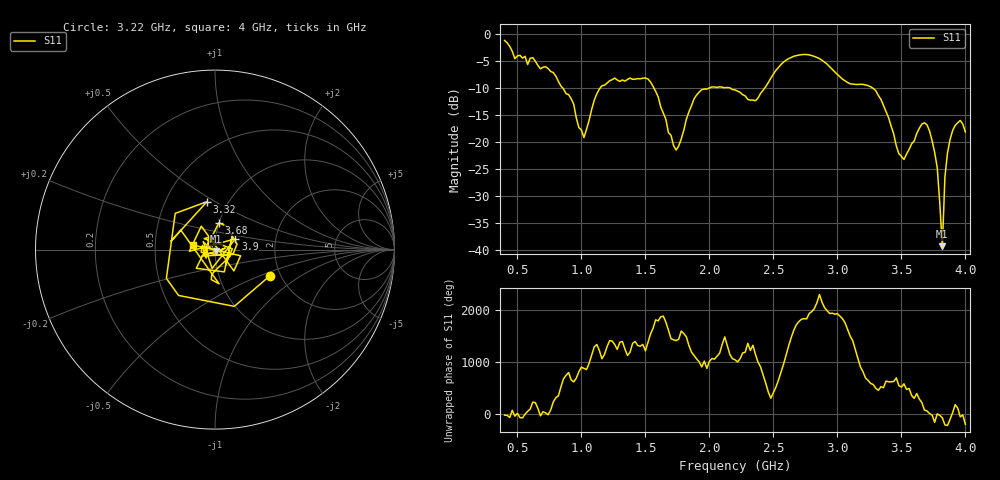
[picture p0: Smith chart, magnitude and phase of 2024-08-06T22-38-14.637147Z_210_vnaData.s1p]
!Created with skrf (http://scikit-rf.org).
# Hz S RI R 50.0
!freq ReS11 ImS11
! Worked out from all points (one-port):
!   181 points, 400 MHz to 4 GHz, reference 50 ohm
!   lowest |S11| = -39.3 dB at 3.82 GHz (marker M1), VSWR 1.02, Z = 50.4 - j1.01 ohm
!   |S11| at or under -10 dB: 855.6 MHz to 1.145 GHz (289.4 MHz wide, 28.9 % of centre); 1.567 GHz to 1.994 GHz (426.4 MHz wide, 23.9 % of centre); 3.277 GHz to end of sweep (the widest 3 of 4)
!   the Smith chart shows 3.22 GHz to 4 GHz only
!   S11 on the Smith chart (normalised r, x): 3.22 GHz: 1.76, -0.58; 3.32 GHz: 0.80, +0.46; 3.68 GHz: 1.00, +0.31; 3.9 GHz: 1.25, +0.15; 4 GHz: 0.78, +0.04
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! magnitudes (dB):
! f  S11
! 400 MHz  -1.1
! 480 MHz  -4.5
! 620 MHz  -4.3
! 860 MHz  -10.1
! 1.02 GHz  -19.1
! 1.14 GHz  -10.1
! 1.3 GHz  -8.8
! 1.52 GHz  -8.3
! 1.72 GHz  -20.6
! 1.76 GHz  -20.7
! 1.92 GHz  -10.7
! 2.2 GHz  -10.3
! 2.36 GHz  -12.3
! 2.66 GHz  -4.1
! 2.86 GHz  -4.5
! 3.1 GHz  -9.2
! 3.22 GHz  -9.4
! 3.32 GHz  -11.4
! 3.48 GHz  -22.1
! 3.56 GHz  -21.3
! 3.68 GHz  -16.4
! 3.72 GHz  -17.9
! 3.78 GHz  -24.7
! 3.82 GHz  -39.3
! 3.84 GHz  -26.5
! 3.9 GHz  -17.9
! 3.96 GHz  -16.0
! 4 GHz  -18.1
